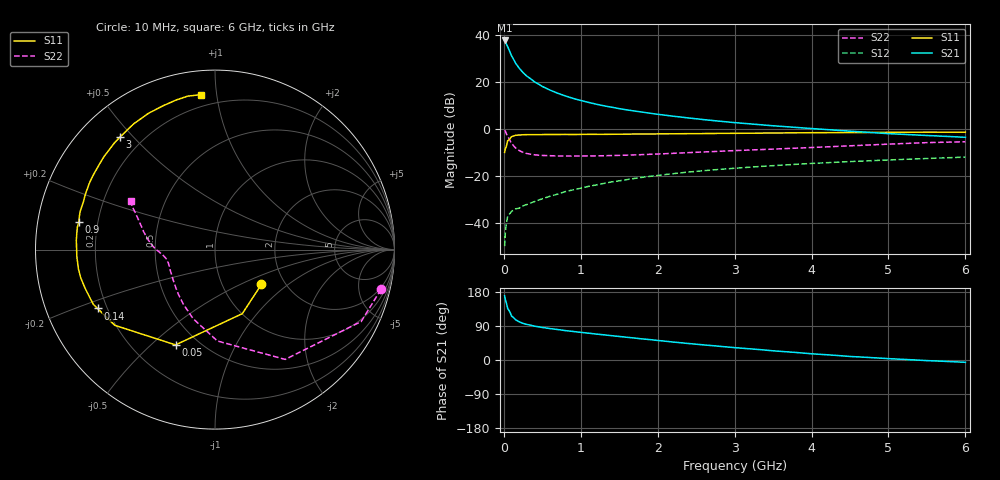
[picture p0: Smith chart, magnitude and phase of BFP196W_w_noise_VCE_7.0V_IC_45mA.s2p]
! (c) 2017  Infineon Technologies AG, Munich
! Infineon Technologies  Discrete & RF Semiconductors
! BFP196W
! VCE =  7.0 V,  IC =  45 mA
! Common Emitter S-Parameters:  Jan 2017
# GHz  S  MA  R  50
!  f  S11  S21  S12  S22
! GHz  MAG  ANG  MAG  ANG  MAG  ANG  MAG  ANG
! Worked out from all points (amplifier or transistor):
!   77 points, 10 MHz to 6 GHz, reference 50 ohm
!   highest |S21| = 37.7 dB at 10 MHz (marker M1)
!   |S21| within 3 dB of that: start of sweep to 54.5 MHz
!   unconditionally stable (mu >= 1): 761.6 MHz to 3.231 GHz
!   at 130 MHz: K = 0.39, MSG = 31.9 dB, |S12| = -34.2 dB
!   at 2.2 GHz: K = 1.04, MAG = 11.0 dB, |S12| = -18.9 dB
!   at 6 GHz: K = 0.93, MSG = 4.2 dB, |S12| = -11.8 dB
!   lowest NFmin = 1.31 dB at 450 MHz
!   S11 on the Smith chart (normalised r, x): 10 MHz: 1.53, -0.66; 50 MHz: 0.38, -0.60; 140 MHz: 0.16, -0.23; 900 MHz: 0.13, +0.10; 3 GHz: 0.12, +0.46; 6 GHz: 0.13, +0.90
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0.01  0.3232 -36.8  76.73 169.6  0.0033 77.6  0.9509 -13.5
0.02  0.3879 -66.9  72.64 158.9  0.0066 71.5  0.9077 -26.2
0.05  0.5748 -112.5  56.35 135.7  0.0142 53.8  0.7262 -57.4
0.1  0.6997 -142.9  36.16 115.9  0.018 42.2  0.5093 -88.5
0.14  0.7319 -153.4  27.75 109.0  0.0199 40.2  0.4209 -103.0
0.15  0.7435 -155.8  25.73 106.6  0.0204 39.8  0.4041 -107.5
0.2  0.7549 -163.3  19.73 100.7  0.0211 40.8  0.3533 -119.6
0.25  0.7644 -168.1  15.96 96.6  0.0237 43.5  0.3234 -128.8
0.3  0.7683 -171.9  13.37 93.8  0.0253 45.8  0.3053 -135.5
0.4  0.7707 -176.9  10.13 89.2  0.0293 50.1  0.2869 -144.8
0.5  0.7713 179.3  8.113 85.9  0.0335 53.2  0.2781 -150.8
0.6  0.7744 176.1  6.787 82.9  0.0379 55.4  0.2749 -155.1
0.7  0.7751 173.6  5.813 80.4  0.042 57.3  0.2708 -158.3
0.9  0.7742 168.6  4.52 75.3  0.0517 60.0  0.2704 -162.6
1.1  0.7808 164.3  3.721 70.8  0.0613 61.0  0.272 -165.6
1.5  0.7858 156.4  2.743 62.1  0.0805 60.7  0.2795 -170.4
2.1  0.7984 145.0  1.986 49.6  0.1093 57.2  0.3032 -176.1
3  0.8203 130.3  1.384 32.6  0.1487 50.2  0.3524 176.0
3.1  0.822 128.8  1.342 31.1  0.1527 49.3  0.3575 175.0
4.1  0.8459 114.5  1.01 15.1  0.1916 41.3  0.4166 164.7
5.1  0.8621 103.6  0.793 2.6  0.2262 33.3  0.4907 155.0
6  0.8668 95.2  0.675 -6.1  0.2564 26.4  0.5429 149.9
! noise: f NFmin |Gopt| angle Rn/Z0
0.45  1.31  0.5  -177  0.05
0.9  1.44  0.54  -172  0.07
1.9  2.26  0.69  -150  0.15
2.4  2.66  0.73  -145  0.25
